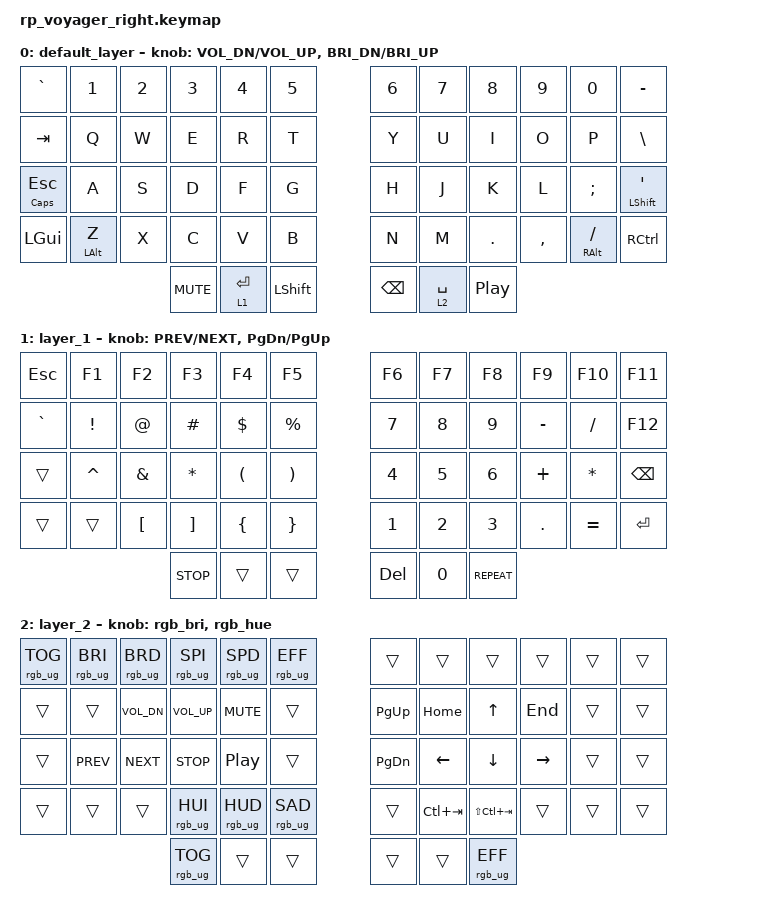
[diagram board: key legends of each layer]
#include <behaviors.dtsi>
#include <dt-bindings/zmk/keys.h>
#include <dt-bindings/zmk/rgb.h>

/ {
    behaviors {
        cesc: caps_escape {
            compatible = "zmk,behavior-hold-tap";
            #binding-cells = <2>;
            tapping-term-ms = <200>;
            bindings = <&kp>, <&kp>;
            flavor = "tap-preferred";
        };

        zalt: z_alt {
            compatible = "zmk,behavior-hold-tap";
            #binding-cells = <2>;
            tapping-term-ms = <200>;
            bindings = <&kp>, <&kp>;
            flavor = "tap-preferred";
        };

        ralt: slash_alt {
            compatible = "zmk,behavior-hold-tap";
            #binding-cells = <2>;
            tapping-term-ms = <200>;
            bindings = <&kp>, <&kp>;
            flavor = "tap-preferred";
        };

        sqts: quote_shift {
            compatible = "zmk,behavior-hold-tap";
            #binding-cells = <2>;
            tapping-term-ms = <200>;
            bindings = <&kp>, <&kp>;
            flavor = "tap-preferred";
        };

        ent1: enter_layer1 {
            compatible = "zmk,behavior-hold-tap";
            #binding-cells = <2>;
            tapping-term-ms = <200>;
            bindings = <&mo>, <&kp>;
            flavor = "tap-preferred";
        };

        spc2: space_layer2 {
            compatible = "zmk,behavior-hold-tap";
            #binding-cells = <2>;
            tapping-term-ms = <200>;
            bindings = <&mo>, <&kp>;
            flavor = "tap-preferred";
        };

        rgb_bri: rgb_bri {
            compatible = "zmk,behavior-sensor-rotate";
            #sensor-binding-cells = <0>;
            bindings = <&rgb_ug RGB_BRD>, <&rgb_ug RGB_BRI>;
        };

        rgb_hue: rgb_hue {
        compatible = "zmk,behavior-sensor-rotate";
        #sensor-binding-cells = <0>;
        bindings = <&rgb_ug RGB_HUD>, <&rgb_ug RGB_HUI>;
        };
    };

    keymap {
        compatible = "zmk,keymap";

        default_layer {
            bindings = <
                &kp GRAVE      &kp N1        &kp N2   &kp N3   &kp N4   &kp N5      &kp N6   &kp N7   &kp N8    &kp N9    &kp N0    &kp MINUS
                &kp TAB        &kp Q         &kp W    &kp E    &kp R    &kp T       &kp Y    &kp U    &kp I     &kp O     &kp P     &kp BSLH
                &cesc CAPS ESC &kp A         &kp S    &kp D    &kp F    &kp G       &kp H    &kp J    &kp K     &kp L     &kp SEMI  &sqts LSHFT SQT
                &kp LGUI       &zalt LALT Z  &kp X    &kp C    &kp V    &kp B       &kp N    &kp M    &kp DOT   &kp COMMA &ralt RALT FSLH &kp RCTRL
                                            &kp C_MUTE &ent1 1 ENTER &kp LSHFT      &kp BSPC &spc2 2 SPACE      &kp C_PP
            >;
            sensor-bindings = <&inc_dec_kp C_VOL_DN C_VOL_UP>, <&inc_dec_kp C_BRI_DN C_BRI_UP>;
        };

        layer_1 {
            bindings = <
                &kp ESC  &kp F1    &kp F2    &kp F3    &kp F4    &kp F5      &kp F6   &kp F7   &kp F8   &kp F9    &kp F10   &kp F11
                &kp GRAVE &kp EXCL &kp AT    &kp HASH  &kp DLLR  &kp PRCNT   &kp N7   &kp N8   &kp N9   &kp MINUS &kp FSLH  &kp F12
                &trans   &kp CARET &kp AMPS  &kp STAR  &kp LPAR  &kp RPAR    &kp N4   &kp N5   &kp N6   &kp PLUS  &kp STAR  &kp BSPC
                &trans   &trans    &kp LBKT  &kp RBKT  &kp LBRC  &kp RBRC    &kp N1   &kp N2   &kp N3   &kp DOT   &kp EQUAL &kp ENTER
                                  &kp C_STOP &trans    &trans                  &kp DEL  &kp N0  &kp C_REPEAT
            >;
            sensor-bindings = <&inc_dec_kp C_PREV C_NEXT>, <&inc_dec_kp PG_DN PG_UP>;
        };

        layer_2 {
            bindings = <
                &rgb_ug RGB_TOG &rgb_ug RGB_BRI &rgb_ug RGB_BRD &rgb_ug RGB_SPI &rgb_ug RGB_SPD &rgb_ug RGB_EFF      &trans       &trans       &trans     &trans    &trans &trans
                &trans          &trans          &kp C_VOL_DN    &kp C_VOL_UP    &kp C_MUTE      &trans               &kp PG_UP    &kp HOME     &kp UP     &kp END   &trans &trans
                &trans          &kp C_PREV      &kp C_NEXT      &kp C_STOP      &kp C_PP        &trans               &kp PG_DN    &kp LEFT     &kp DOWN   &kp RIGHT &trans &trans
                &trans          &trans          &trans          &rgb_ug RGB_HUI &rgb_ug RGB_HUD &rgb_ug RGB_SAD      &trans       &kp LC(TAB)  &kp LS(LC(TAB)) &trans &trans &trans
                                                &rgb_ug RGB_TOG &trans          &trans                               &trans       &trans       &rgb_ug RGB_EFF
            >;
            sensor-bindings = <&rgb_bri>, <&rgb_hue>;
        };
    };
};
